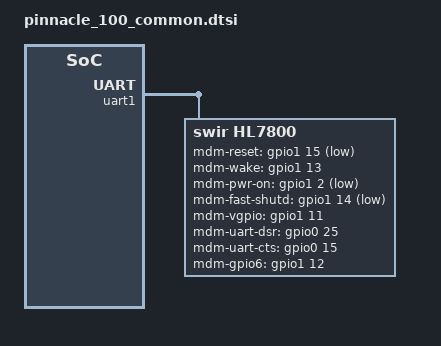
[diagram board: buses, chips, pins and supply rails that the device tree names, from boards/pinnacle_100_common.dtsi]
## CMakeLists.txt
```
# SPDX-License-Identifier: Apache-2.0

cmake_minimum_required(VERSION 3.28.0)

find_package(Zephyr REQUIRED HINTS $ENV{ZEPHYR_BASE})
project(at_client)

target_sources(app PRIVATE src/main.c)
```

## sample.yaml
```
sample:
  description: AT Command Client - bidirectional UART bridge between
    console and cellular modem for AT command communication
  name: AT Command Client
common:
  min_ram: 8
  min_flash: 32
  tags:
    - modem
    - uart
    - at_commands
    - cellular
  depends_on:
    - uart
  harness: console
  harness_config:
    type: multi_line
    ordered: true
    regex:
      - "Console UART pipe registered"
      - "Modem pipe initialized and opened"
      - "Console <-> Modem communication established"
tests:
  sample.modem.at_client:
    tags:
      - modem
      - uart
    filter: dt_chosen_enabled("zephyr,modem-uart")
```

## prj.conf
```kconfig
# AT Client Sample Configuration

# Logging
CONFIG_LOG=y

# Serial and UART
CONFIG_SERIAL=y
CONFIG_UART_INTERRUPT_DRIVEN=y
CONFIG_UART_PIPE=y

# Modem subsystem
CONFIG_MODEM_MODULES=y
CONFIG_MODEM_BACKEND_UART=y
CONFIG_MODEM_PIPE=y
```

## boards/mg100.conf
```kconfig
CONFIG_MODEM_HL7800=n
CONFIG_MODEM_HL78XX_AUTORAT=n
```

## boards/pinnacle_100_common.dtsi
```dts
/delete-node/ &hl7800;

/ {
	aliases {
		modem-uart = &uart1;
		modem = &hl7800;
		gnss = &gnss;
	};

	chosen {
		zephyr,modem-uart = &uart1;
		zephyr,uart-pipe = &uart0;
	};
};

&uart1 {
	hl7800: hl7800 {
		compatible = "swir,hl7800";
		mdm-reset-gpios = <&gpio1 15 (GPIO_OPEN_DRAIN | GPIO_ACTIVE_LOW)>;
		mdm-wake-gpios = <&gpio1 13 (GPIO_OPEN_SOURCE | GPIO_ACTIVE_HIGH)>;
		mdm-pwr-on-gpios = <&gpio1 2 (GPIO_OPEN_DRAIN | GPIO_ACTIVE_LOW)>;
		mdm-fast-shutd-gpios = <&gpio1 14 (GPIO_OPEN_DRAIN | GPIO_ACTIVE_LOW)>;
		mdm-vgpio-gpios = <&gpio1 11 0>;
		mdm-uart-dsr-gpios = <&gpio0 25 0>;
		mdm-uart-cts-gpios = <&gpio0 15 0>;
		mdm-gpio6-gpios = <&gpio1 12 0>;
		status = "okay";

		socket_offload: socket_offload {
			compatible = "swir,hl7812-offload";
			/* optional properties for future: */
			max-data-length = <512>;
			status = "okay";
		};

		gnss: hl_gnss {
			compatible = "swir,hl7812-gnss";
			pps-mode = "GNSS_PPS_MODE_DISABLED";
			fix-rate = <1000>;
			status = "okay";
		};
	};
};
```

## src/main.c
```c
/*
 * Copyright (c) 2025 Netfeasa Ltd.
 *
 * SPDX-License-Identifier: Apache-2.0
 */

/**
 * @file
 * @brief AT Command Client - Bidirectional UART bridge
 *
 * This application creates a transparent bridge between the console UART
 * and a cellular modem UART, allowing AT command interaction and firmware
 * updates via XMODEM protocol.
 */

#include <zephyr/kernel.h>
#include <zephyr/device.h>
#include <zephyr/drivers/gpio.h>
#include <zephyr/drivers/uart_pipe.h>
#include <zephyr/modem/backend/uart.h>
#include <zephyr/modem/pipe.h>
#include <zephyr/logging/log.h>

LOG_MODULE_REGISTER(at_client, CONFIG_MODEM_MODULES_LOG_LEVEL);

#define DEV_CONSOLE DEVICE_DT_GET(DT_CHOSEN(zephyr_console))
#define DEV_MODEM   DEVICE_DT_GET(DT_CHOSEN(zephyr_modem_uart))

static const struct gpio_dt_spec mdm_power =
	GPIO_DT_SPEC_GET(DT_NODELABEL(modem), mdm_power_gpios);

#define UART_RX_BUF_SIZE    128
#define UART_TX_BUF_SIZE    128
#define CONSOLE_RX_BUF_SIZE 128

/* Buffers for modem backend */
struct modem_data {
	struct {
		uint8_t uart_rx[UART_RX_BUF_SIZE];
		uint8_t uart_tx[UART_TX_BUF_SIZE];
	} buffers;

	struct modem_backend_uart uart_backend;
	struct modem_pipe *uart_pipe;
};

static struct modem_data data;

/* Console RX buffer for uart_pipe */
static uint8_t buf_rx_console[CONSOLE_RX_BUF_SIZE];

/* Callback when modem pipe receives data */
static void modem_pipe_event_handler(struct modem_pipe *pipe, enum modem_pipe_event event,
				     void *user_data)
{
	uint8_t buf[CONSOLE_RX_BUF_SIZE];
	int ret;

	switch (event) {
	case MODEM_PIPE_EVENT_RECEIVE_READY:
		/* Read from modem pipe and send directly to console */
		do {
			ret = modem_pipe_receive(pipe, buf, sizeof(buf));
			if (ret > 0) {
				/* Send directly to console via uart_pipe */
				uart_pipe_send(buf, ret);
			}
		} while (ret > 0);
		break;

	case MODEM_PIPE_EVENT_TRANSMIT_IDLE:
		/* Can send more data if available */
		break;

	default:
		break;
	}
}

static int modem_power_toggle(void)
{
	int ret;

	if (!gpio_is_ready_dt(&mdm_power)) {
		LOG_ERR("Modem power GPIO not ready");
		return -ENODEV;
	}

	ret = gpio_pin_configure_dt(&mdm_power, GPIO_OUTPUT_INACTIVE);
	if (ret < 0) {
		LOG_ERR("Failed to configure modem power GPIO: %d", ret);
		return ret;
	}

	/* Assert power pin active (low, open-drain) for 1.5 s to toggle modem */
	k_sleep(K_MSEC(100));
	gpio_pin_set_dt(&mdm_power, 1);
	k_sleep(K_MSEC(1500));
	gpio_pin_set_dt(&mdm_power, 0);

	/* Wait for modem to complete boot sequence */
	k_sleep(K_MSEC(5000));
	LOG_INF("Modem power toggled");
	return 0;
}

static int init_modem_pipe(void)
{
	int ret;

	const struct modem_backend_uart_config uart_backend_config = {
		.uart = DEV_MODEM,
		.receive_buf = data.buffers.uart_rx,
		.receive_buf_size = sizeof(data.buffers.uart_rx),
		.transmit_buf = data.buffers.uart_tx,
		.transmit_buf_size = sizeof(data.buffers.uart_tx),
	};

	data.uart_pipe = modem_backend_uart_init(&data.uart_backend, &uart_backend_config);
	if (data.uart_pipe == NULL) {
		LOG_ERR("Failed to initialize modem backend");
		return -1;
	}

	modem_pipe_attach(data.uart_pipe, modem_pipe_event_handler, &data);

	ret = modem_pipe_open(data.uart_pipe, K_MSEC(100));
	if (ret < 0) {
		LOG_ERR("Failed to open modem pipe");
		return ret;
	}

	LOG_INF("Modem pipe initialized and opened");
	return 0;
}

/* Console uart_pipe callback - receives data from console */
static uint8_t *console_recv_cb(uint8_t *buf, size_t *off)
{
	int ret;

	/* Data received from console, send directly to modem pipe */
	if (*off > 0) {
		ret = modem_pipe_transmit(data.uart_pipe, buf, *off);
		if (ret < 0) {
			LOG_ERR("Failed to transmit to modem: %d", ret);
		}
		*off = 0;
	}

	return buf;
}

int main(void)
{
	int ret;

	LOG_INF("AT Command Client starting...");

	/* Verify console device is ready */
	if (!device_is_ready(DEV_CONSOLE)) {
		LOG_ERR("Console device not ready");
		return -ENODEV;
	}

	/* Verify modem device is ready */
	if (!device_is_ready(DEV_MODEM)) {
		LOG_ERR("Modem device not ready");
		return -ENODEV;
	}

	/* Register console uart_pipe for receiving */
	uart_pipe_register(buf_rx_console, sizeof(buf_rx_console), console_recv_cb);
	LOG_INF("Console UART pipe registered");

	/* Turn on modem power before opening pipes */
	ret = modem_power_toggle();
	if (ret < 0) {
		LOG_ERR("Failed to toggle modem power: %d", ret);
		return ret;
	}

	/* Initialize modem pipe */
	ret = init_modem_pipe();
	if (ret < 0) {
		LOG_ERR("Failed to initialize modem pipe: %d", ret);
		return ret;
	}

	LOG_INF("Console <-> Modem communication established");
	LOG_INF("Ready to forward AT commands");

	/* Keep application running */
	while (1) {
		k_sleep(K_FOREVER);
	}

	return 0;
}
```
